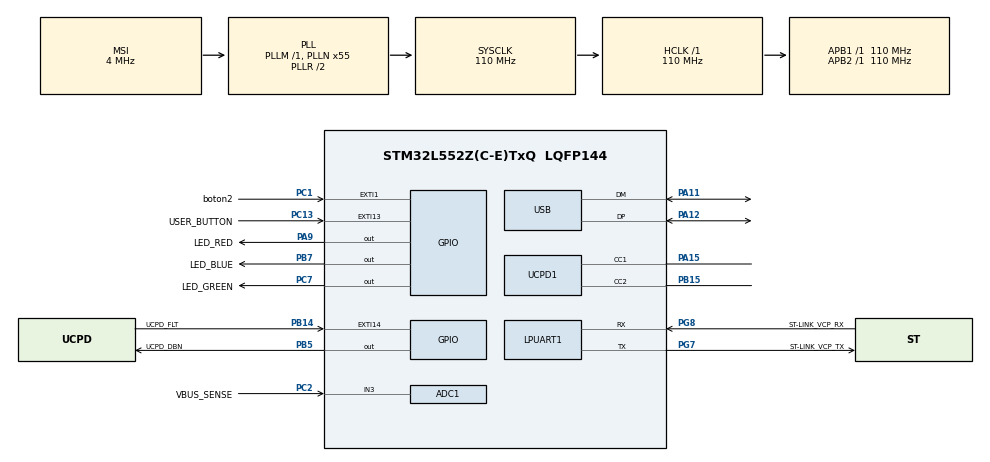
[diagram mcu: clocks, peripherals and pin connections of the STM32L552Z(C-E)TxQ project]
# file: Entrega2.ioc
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ADC1.Channel-0\#ChannelRegularConversion=ADC_CHANNEL_3
ADC1.NbrOfConversionFlag=1
ADC1.OffsetNumber-0\#ChannelRegularConversion=ADC_OFFSET_NONE
ADC1.Rank-0\#ChannelRegularConversion=1
ADC1.SamplingTime-0\#ChannelRegularConversion=ADC_SAMPLETIME_2CYCLES_5
ADC1.master=1
Mcu.Family=STM32L5
Mcu.Name=STM32L552Z(C-E)TxQ
Mcu.Package=LQFP144
Mcu.TrustZone=disable
NVIC.EXTI13_IRQn=true\:0\:0\:false\:false\:true\:true\:true\:true
NVIC.EXTI1_IRQn=true\:0\:0\:false\:false\:true\:true\:true\:true
NVIC.PriorityGroup=NVIC_PRIORITYGROUP_3
PA11.Mode=Device
PA11.Signal=USB_DM
PA12.Mode=Device
PA12.Signal=USB_DP
PA13\ (JTMS/SWDIO).Mode=Trace_Asynchronous_SW
PA13\ (JTMS/SWDIO).Signal=DEBUG_JTMS-SWDIO
PA14\ (JTCK/SWCLK).Mode=Trace_Asynchronous_SW
PA14\ (JTCK/SWCLK).Signal=DEBUG_JTCK-SWCLK
PA15\ (JTDI).Mode=Source_AllSignals
PA15\ (JTDI).Signal=UCPD1_CC1
PA9.GPIO_Label=LED_RED
PA9.Signal=GPIO_Output
PB14.GPIO_Label=UCPD_FLT
PB14.Signal=GPXTI14
PB15.Mode=Source_AllSignals
PB15.Signal=UCPD1_CC2
PB3\ (JTDO/TRACESWO).Mode=Trace_Asynchronous_SW
PB3\ (JTDO/TRACESWO).Signal=DEBUG_JTDO-SWO
PB5.GPIO_Label=UCPD_DBN
PB5.Signal=GPIO_Output
PB7.GPIO_Label=LED_BLUE
PB7.Signal=GPIO_Output
PC1.GPIO_Label=boton2
PC1.Signal=GPXTI1
PC13.GPIO_Label=USER_BUTTON
PC13.Signal=GPXTI13
PC14-OSC32_IN\ (PC14).Mode=LSE-External-Oscillator
PC14-OSC32_IN\ (PC14).Signal=RCC_OSC32_IN
PC15-OSC32_OUT\ (PC15).Mode=LSE-External-Oscillator
PC15-OSC32_OUT\ (PC15).Signal=RCC_OSC32_OUT
PC2.GPIO_Label=VBUS_SENSE
PC2.Signal=ADCx_IN3
PC7.GPIO_Label=LED_GREEN
PC7.Signal=GPIO_Output
PG7.GPIO_Label=ST-LINK_VCP_TX
PG7.Mode=Asynchronous
PG7.Signal=LPUART1_TX
PG8.GPIO_Label=ST-LINK_VCP_RX
PG8.Mode=Asynchronous
PG8.Signal=LPUART1_RX
ProjectManager.HeapSize=0x200
ProjectManager.StackSize=0x400
ProjectManager.TargetToolchain=STM32CubeIDE
RCC.ADCCLockSelection=RCC_ADCCLKSOURCE_SYSCLK
RCC.ADCFreq_Value=110000000
RCC.AHBFreq_Value=110000000
RCC.APB1Freq_Value=110000000
RCC.APB1TimFreq_Value=110000000
RCC.APB2Freq_Value=110000000
RCC.APB2TimFreq_Value=110000000
RCC.CK48CLockSelection=RCC_USBCLKSOURCE_HSI48
RCC.CortexFreq_Value=110000000
RCC.HCLKFreq_Value=110000000
RCC.HSE_VALUE=8000000
RCC.HSI48_VALUE=48000000
RCC.HSI_VALUE=16000000
RCC.MSI_VALUE=4000000
RCC.PLLN=55
RCC.PLLSAI1N=24
RCC.RTCClockSelection=RCC_RTCCLKSOURCE_LSE
RCC.SYSCLKFreq_VALUE=110000000
RCC.SYSCLKSource=RCC_SYSCLKSOURCE_PLLCLK
RCC.USBFreq_Value=48000000
RCC.VCOOutputFreq_Value=220000000
SH.ADCx_IN3.0=ADC1_IN3,IN3-Single-Ended
VP_ICACHE_VS_ICACHE.Mode=DirectMappedCache
VP_PWR_VS_DBSignals.Mode=DisableDeadBatterySignals
VP_RTC_VS_RTC_Activate.Mode=RTC_Enabled
board=NUCLEO-L552ZE-Q

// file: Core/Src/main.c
/* USER CODE BEGIN Header */
/**
  ******************************************************************************
  * @file           : main.c
  * @brief          : Main program body
  ******************************************************************************
  * @attention
  *
  * Copyright (c) 2024 STMicroelectronics.
  * All rights reserved.
  *
  * This software is licensed under terms that can be found in the LICENSE file
  * in the root directory of this software component.
  * If no LICENSE file comes with this software, it is provided AS-IS.
  *
  ******************************************************************************
  */
/* USER CODE END Header */
#include "main.h"

/* USER CODE BEGIN Includes */
#include <stdlib.h>
#include "stdio.h"
/* USER CODE END Includes */

/* USER CODE BEGIN PTD */
typedef enum {
	S0,
	S1,
	S2,
	S3
} Estado;

typedef Estado (*FuncionEstado)(void);
/* USER CODE END PTD */

/* USER CODE BEGIN PM */
#define ITM_Port32(n)	(*((volatile unsigned long *)(0xE0000000+4*n)))
/* USER CODE END PM */

ADC_HandleTypeDef hadc1;

UART_HandleTypeDef hlpuart1;

RTC_HandleTypeDef hrtc;

PCD_HandleTypeDef hpcd_USB_FS;

/* USER CODE BEGIN PV */
Estado estadoActual = S0;
Estado estadoFinal = S3;
/* USER CODE END PV */

void SystemClock_Config(void);
static void MX_GPIO_Init(void);
static void MX_ADC1_Init(void);
static void MX_ICACHE_Init(void);
static void MX_LPUART1_UART_Init(void);
static void MX_RTC_Init(void);
static void MX_UCPD1_Init(void);
static void MX_USB_PCD_Init(void);
/* USER CODE BEGIN PFP */
Estado funcionEstadoS0(void);
Estado funcionEstadoS1(void);
Estado funcionEstadoS2(void);
Estado funcionEstadoS3(void);

FuncionEstado funcionesEstado[4] = {
		funcionEstadoS0,
		funcionEstadoS1,
		funcionEstadoS2,
		funcionEstadoS3
};
/* USER CODE END PFP */

int main(void)
{

  /* MCU Configuration--------------------------------------------------------*/

  /* Reset of all peripherals, Initializes the Flash interface and the Systick. */
  HAL_Init();

  /* Configure the system clock */
  SystemClock_Config();

  /* USER CODE BEGIN SysInit */
  ITM_Port32(31) = 1;
  /* USER CODE END SysInit */

  /* Initialize all configured peripherals */
  MX_GPIO_Init();
  MX_ADC1_Init();
  MX_ICACHE_Init();
  MX_LPUART1_UART_Init();
  MX_RTC_Init();
  MX_UCPD1_Init();
  MX_USB_PCD_Init();

  /* Infinite loop */
  /* USER CODE BEGIN WHILE */
  while (1)
  {
	  //en el while llamaremos a un delay para que haga una espera y despues llamaremos a la funion del estado actual
	  HAL_Delay(100);
	  estadoFinal = funcionesEstado[estadoActual]();
    /* USER CODE END WHILE */

  }
}

void SystemClock_Config(void)
{
  RCC_OscInitTypeDef RCC_OscInitStruct = {0};
  RCC_ClkInitTypeDef RCC_ClkInitStruct = {0};

  /** Configure the main internal regulator output voltage
  */
  if (HAL_PWREx_ControlVoltageScaling(PWR_REGULATOR_VOLTAGE_SCALE0) != HAL_OK)
  {
    Error_Handler();
  }

  /** Configure LSE Drive Capability
  */
  HAL_PWR_EnableBkUpAccess();
  __HAL_RCC_LSEDRIVE_CONFIG(RCC_LSEDRIVE_LOW);

  /** Initializes the RCC Oscillators according to the specified parameters
  * in the RCC_OscInitTypeDef structure.
  */
  RCC_OscInitStruct.OscillatorType = RCC_OSCILLATORTYPE_HSI48|RCC_OSCILLATORTYPE_HSI
                              |RCC_OSCILLATORTYPE_LSE|RCC_OSCILLATORTYPE_MSI;
  RCC_OscInitStruct.LSEState = RCC_LSE_ON;
  RCC_OscInitStruct.HSIState = RCC_HSI_ON;
  RCC_OscInitStruct.HSI48State = RCC_HSI48_ON;
  RCC_OscInitStruct.HSICalibrationValue = RCC_HSICALIBRATION_DEFAULT;
  RCC_OscInitStruct.MSIState = RCC_MSI_ON;
  RCC_OscInitStruct.MSICalibrationValue = RCC_MSICALIBRATION_DEFAULT;
  RCC_OscInitStruct.MSIClockRange = RCC_MSIRANGE_6;
  RCC_OscInitStruct.PLL.PLLState = RCC_PLL_ON;
  RCC_OscInitStruct.PLL.PLLSource = RCC_PLLSOURCE_MSI;
  RCC_OscInitStruct.PLL.PLLM = 1;
  RCC_OscInitStruct.PLL.PLLN = 55;
  RCC_OscInitStruct.PLL.PLLP = RCC_PLLP_DIV7;
  RCC_OscInitStruct.PLL.PLLQ = RCC_PLLQ_DIV2;
  RCC_OscInitStruct.PLL.PLLR = RCC_PLLR_DIV2;
  if (HAL_RCC_OscConfig(&RCC_OscInitStruct) != HAL_OK)
  {
    Error_Handler();
  }

  /** Initializes the CPU, AHB and APB buses clocks
  */
  RCC_ClkInitStruct.ClockType = RCC_CLOCKTYPE_HCLK|RCC_CLOCKTYPE_SYSCLK
                              |RCC_CLOCKTYPE_PCLK1|RCC_CLOCKTYPE_PCLK2;
  RCC_ClkInitStruct.SYSCLKSource = RCC_SYSCLKSOURCE_PLLCLK;
  RCC_ClkInitStruct.AHBCLKDivider = RCC_SYSCLK_DIV1;
  RCC_ClkInitStruct.APB1CLKDivider = RCC_HCLK_DIV1;
  RCC_ClkInitStruct.APB2CLKDivider = RCC_HCLK_DIV1;

  if (HAL_RCC_ClockConfig(&RCC_ClkInitStruct, FLASH_LATENCY_5) != HAL_OK)
  {
    Error_Handler();
  }
}

static void MX_ADC1_Init(void)
{

  ADC_MultiModeTypeDef multimode = {0};
  ADC_ChannelConfTypeDef sConfig = {0};

  /** Common config
  */
  hadc1.Instance = ADC1;
  hadc1.Init.ClockPrescaler = ADC_CLOCK_ASYNC_DIV1;
  hadc1.Init.Resolution = ADC_RESOLUTION_12B;
  hadc1.Init.DataAlign = ADC_DATAALIGN_RIGHT;
  hadc1.Init.ScanConvMode = ADC_SCAN_DISABLE;
  hadc1.Init.EOCSelection = ADC_EOC_SINGLE_CONV;
  hadc1.Init.LowPowerAutoWait = DISABLE;
  hadc1.Init.ContinuousConvMode = DISABLE;
  hadc1.Init.NbrOfConversion = 1;
  hadc1.Init.DiscontinuousConvMode = DISABLE;
  hadc1.Init.ExternalTrigConv = ADC_SOFTWARE_START;
  hadc1.Init.ExternalTrigConvEdge = ADC_EXTERNALTRIGCONVEDGE_NONE;
  hadc1.Init.DMAContinuousRequests = DISABLE;
  hadc1.Init.Overrun = ADC_OVR_DATA_PRESERVED;
  hadc1.Init.OversamplingMode = DISABLE;
  if (HAL_ADC_Init(&hadc1) != HAL_OK)
  {
    Error_Handler();
  }

  /** Configure the ADC multi-mode
  */
  multimode.Mode = ADC_MODE_INDEPENDENT;
  if (HAL_ADCEx_MultiModeConfigChannel(&hadc1, &multimode) != HAL_OK)
  {
    Error_Handler();
  }

  /** Configure Regular Channel
  */
  sConfig.Channel = ADC_CHANNEL_3;
  sConfig.Rank = ADC_REGULAR_RANK_1;
  sConfig.SamplingTime = ADC_SAMPLETIME_2CYCLES_5;
  sConfig.SingleDiff = ADC_SINGLE_ENDED;
  sConfig.OffsetNumber = ADC_OFFSET_NONE;
  sConfig.Offset = 0;
  if (HAL_ADC_ConfigChannel(&hadc1, &sConfig) != HAL_OK)
  {
    Error_Handler();
  }

}

static void MX_ICACHE_Init(void)
{

  /** Enable instruction cache in 1-way (direct mapped cache)
  */
  if (HAL_ICACHE_ConfigAssociativityMode(ICACHE_1WAY) != HAL_OK)
  {
    Error_Handler();
  }
  if (HAL_ICACHE_Enable() != HAL_OK)
  {
    Error_Handler();
  }

}

static void MX_LPUART1_UART_Init(void)
{

  hlpuart1.Instance = LPUART1;
  hlpuart1.Init.BaudRate = 209700;
  hlpuart1.Init.WordLength = UART_WORDLENGTH_8B;
  hlpuart1.Init.StopBits = UART_STOPBITS_1;
  hlpuart1.Init.Parity = UART_PARITY_NONE;
  hlpuart1.Init.Mode = UART_MODE_TX_RX;
  hlpuart1.Init.HwFlowCtl = UART_HWCONTROL_NONE;
  hlpuart1.Init.OneBitSampling = UART_ONE_BIT_SAMPLE_DISABLE;
  hlpuart1.Init.ClockPrescaler = UART_PRESCALER_DIV1;
  hlpuart1.AdvancedInit.AdvFeatureInit = UART_ADVFEATURE_NO_INIT;
  hlpuart1.FifoMode = UART_FIFOMODE_DISABLE;
  if (HAL_UART_Init(&hlpuart1) != HAL_OK)
  {
    Error_Handler();
  }
  if (HAL_UARTEx_SetTxFifoThreshold(&hlpuart1, UART_TXFIFO_THRESHOLD_1_8) != HAL_OK)
  {
    Error_Handler();
  }
  if (HAL_UARTEx_SetRxFifoThreshold(&hlpuart1, UART_RXFIFO_THRESHOLD_1_8) != HAL_OK)
  {
    Error_Handler();
  }
  if (HAL_UARTEx_DisableFifoMode(&hlpuart1) != HAL_OK)
  {
    Error_Handler();
  }

}

static void MX_RTC_Init(void)
{

  RTC_PrivilegeStateTypeDef privilegeState = {0};

  /** Initialize RTC Only
  */
  hrtc.Instance = RTC;
  hrtc.Init.HourFormat = RTC_HOURFORMAT_24;
  hrtc.Init.AsynchPrediv = 127;
  hrtc.Init.SynchPrediv = 255;
  hrtc.Init.OutPut = RTC_OUTPUT_DISABLE;
  hrtc.Init.OutPutRemap = RTC_OUTPUT_REMAP_NONE;
  hrtc.Init.OutPutPolarity = RTC_OUTPUT_POLARITY_HIGH;
  hrtc.Init.OutPutType = RTC_OUTPUT_TYPE_OPENDRAIN;
  hrtc.Init.OutPutPullUp = RTC_OUTPUT_PULLUP_NONE;
  if (HAL_RTC_Init(&hrtc) != HAL_OK)
  {
    Error_Handler();
  }
  privilegeState.rtcPrivilegeFull = RTC_PRIVILEGE_FULL_NO;
  privilegeState.backupRegisterPrivZone = RTC_PRIVILEGE_BKUP_ZONE_NONE;
  privilegeState.backupRegisterStartZone2 = RTC_BKP_DR0;
  privilegeState.backupRegisterStartZone3 = RTC_BKP_DR0;
  if (HAL_RTCEx_PrivilegeModeSet(&hrtc, &privilegeState) != HAL_OK)
  {
    Error_Handler();
  }

}

static void MX_UCPD1_Init(void)
{

  LL_GPIO_InitTypeDef GPIO_InitStruct = {0};

  /* Peripheral clock enable */
  LL_APB1_GRP2_EnableClock(LL_APB1_GRP2_PERIPH_UCPD1);

  LL_AHB2_GRP1_EnableClock(LL_AHB2_GRP1_PERIPH_GPIOB);
  LL_AHB2_GRP1_EnableClock(LL_AHB2_GRP1_PERIPH_GPIOA);
  /**UCPD1 GPIO Configuration
  PB15   ------> UCPD1_CC2
  PA15 (JTDI)   ------> UCPD1_CC1
  */
  GPIO_InitStruct.Pin = LL_GPIO_PIN_15;
  GPIO_InitStruct.Mode = LL_GPIO_MODE_ANALOG;
  GPIO_InitStruct.Pull = LL_GPIO_PULL_NO;
  LL_GPIO_Init(GPIOB, &GPIO_InitStruct);

  GPIO_InitStruct.Pin = LL_GPIO_PIN_15;
  GPIO_InitStruct.Mode = LL_GPIO_MODE_ANALOG;
  GPIO_InitStruct.Pull = LL_GPIO_PULL_NO;
  LL_GPIO_Init(GPIOA, &GPIO_InitStruct);

}

static void MX_USB_PCD_Init(void)
{

  hpcd_USB_FS.Instance = USB;
  hpcd_USB_FS.Init.dev_endpoints = 8;
  hpcd_USB_FS.Init.speed = PCD_SPEED_FULL;
  hpcd_USB_FS.Init.phy_itface = PCD_PHY_EMBEDDED;
  hpcd_USB_FS.Init.Sof_enable = DISABLE;
  hpcd_USB_FS.Init.low_power_enable = DISABLE;
  hpcd_USB_FS.Init.lpm_enable = DISABLE;
  hpcd_USB_FS.Init.battery_charging_enable = DISABLE;
  if (HAL_PCD_Init(&hpcd_USB_FS) != HAL_OK)
  {
    Error_Handler();
  }

}

static void MX_GPIO_Init(void)
{
  GPIO_InitTypeDef GPIO_InitStruct = {0};

  /* GPIO Ports Clock Enable */
  __HAL_RCC_GPIOC_CLK_ENABLE();
  __HAL_RCC_GPIOB_CLK_ENABLE();
  __HAL_RCC_GPIOG_CLK_ENABLE();
  HAL_PWREx_EnableVddIO2();
  __HAL_RCC_GPIOA_CLK_ENABLE();

  /*Configure GPIO pin Output Level */
  HAL_GPIO_WritePin(LED_GREEN_GPIO_Port, LED_GREEN_Pin, GPIO_PIN_RESET);

  /*Configure GPIO pin Output Level */
  HAL_GPIO_WritePin(LED_RED_GPIO_Port, LED_RED_Pin, GPIO_PIN_RESET);

  /*Configure GPIO pin Output Level */
  HAL_GPIO_WritePin(GPIOB, UCPD_DBN_Pin|LED_BLUE_Pin, GPIO_PIN_RESET);

  /*Configure GPIO pins : USER_BUTTON_Pin boton2_Pin */
  GPIO_InitStruct.Pin = USER_BUTTON_Pin|boton2_Pin;
  GPIO_InitStruct.Mode = GPIO_MODE_IT_RISING;
  GPIO_InitStruct.Pull = GPIO_NOPULL;
  HAL_GPIO_Init(GPIOC, &GPIO_InitStruct);

  /*Configure GPIO pin : UCPD_FLT_Pin */
  GPIO_InitStruct.Pin = UCPD_FLT_Pin;
  GPIO_InitStruct.Mode = GPIO_MODE_IT_RISING;
  GPIO_InitStruct.Pull = GPIO_NOPULL;
  HAL_GPIO_Init(UCPD_FLT_GPIO_Port, &GPIO_InitStruct);

  /*Configure GPIO pin : LED_GREEN_Pin */
  GPIO_InitStruct.Pin = LED_GREEN_Pin;
  GPIO_InitStruct.Mode = GPIO_MODE_OUTPUT_PP;
  GPIO_InitStruct.Pull = GPIO_NOPULL;
  GPIO_InitStruct.Speed = GPIO_SPEED_FREQ_LOW;
  HAL_GPIO_Init(LED_GREEN_GPIO_Port, &GPIO_InitStruct);

  /*Configure GPIO pin : LED_RED_Pin */
  GPIO_InitStruct.Pin = LED_RED_Pin;
  GPIO_InitStruct.Mode = GPIO_MODE_OUTPUT_PP;
  GPIO_InitStruct.Pull = GPIO_NOPULL;
  GPIO_InitStruct.Speed = GPIO_SPEED_FREQ_LOW;
  HAL_GPIO_Init(LED_RED_GPIO_Port, &GPIO_InitStruct);

  /*Configure GPIO pins : UCPD_DBN_Pin LED_BLUE_Pin */
  GPIO_InitStruct.Pin = UCPD_DBN_Pin|LED_BLUE_Pin;
  GPIO_InitStruct.Mode = GPIO_MODE_OUTPUT_PP;
  GPIO_InitStruct.Pull = GPIO_NOPULL;
  GPIO_InitStruct.Speed = GPIO_SPEED_FREQ_LOW;
  HAL_GPIO_Init(GPIOB, &GPIO_InitStruct);

  /* EXTI interrupt init*/
  HAL_NVIC_SetPriority(EXTI1_IRQn, 0, 0);
  HAL_NVIC_EnableIRQ(EXTI1_IRQn);

  HAL_NVIC_SetPriority(EXTI13_IRQn, 0, 0);
  HAL_NVIC_EnableIRQ(EXTI13_IRQn);

}

/* USER CODE BEGIN 4 */
void cambiarEstado(int botonPres){
	switch (estadoActual) {
	case S0:
		if(botonPres == 1) {
			estadoActual = S1;
		} else if(botonPres == 2){
			estadoActual = S3;
		}
		break;
		case S1:
			if(botonPres == 1) {
				estadoActual = S2;
			} else if(botonPres == 2) {
				estadoActual = S0;
			}
			break;
			case S2:
				if(botonPres == 1) {
					estadoActual = S3;
				} else if(botonPres == 2) {
					estadoActual = S1;
				}
				break;
				case S3:
					if(botonPres == 1) {
						estadoActual = S0;
					} else if(botonPres == 2) {
						estadoActual = S2;
					}
					break;
	}
}

void HAL_GPIO_EXTI_Rising_Callback(uint16_t GPIO_Pin){
	if(GPIO_Pin == USER_BUTTON_Pin){
		cambiarEstado(1);
	}
	if(GPIO_Pin == boton2_Pin){
		cambiarEstado(2);
	}
}

int _write(int file, char *ptr, int len){
	int DataIdx;

	for(DataIdx=0; DataIdx<len; DataIdx++){
		ITM_SendChar(*ptr++);
	}
	return len;
}

Estado funcionEstadoS0(){
	if(estadoActual != estadoFinal){
		printf("Se encuentra en el estado: 0\n\r");
		HAL_GPIO_WritePin(GPIOA, GPIO_PIN_9, 0);
		HAL_GPIO_WritePin(GPIOC, GPIO_PIN_7, 1);
	}
	return estadoActual;
}

Estado funcionEstadoS1(){
	if(estadoActual != estadoFinal){
		printf("Se encuentra en el estado: 1\n\r");
		HAL_GPIO_WritePin(GPIOA, GPIO_PIN_9, 1);
		HAL_GPIO_WritePin(GPIOC, GPIO_PIN_7, 0);
	}
	return estadoActual;
}

Estado funcionEstadoS2(){
	if(estadoActual != estadoFinal){
		printf("Se encuentra en el estado: 2\n\r");
		HAL_GPIO_WritePin(GPIOA, GPIO_PIN_9, 1);
		HAL_GPIO_WritePin(GPIOC, GPIO_PIN_7, 1);
	}
	return estadoActual;
}

Estado funcionEstadoS3(){
	if(estadoActual != estadoFinal){
		printf("Se encuentra en el estado: 3\n\r");
		HAL_GPIO_WritePin(GPIOA, GPIO_PIN_9, 0);
		HAL_GPIO_WritePin(GPIOC, GPIO_PIN_7, 0);
	}
	return estadoActual;
}
/* USER CODE END 4 */

void Error_Handler(void)
{
  __disable_irq();
  while (1)
  {
  }
}
